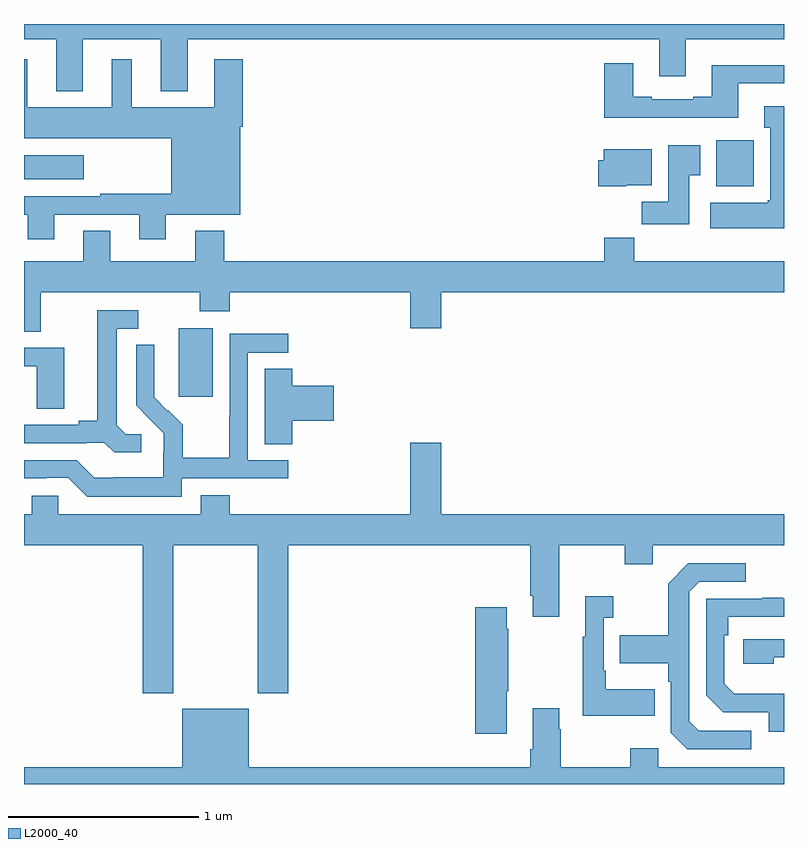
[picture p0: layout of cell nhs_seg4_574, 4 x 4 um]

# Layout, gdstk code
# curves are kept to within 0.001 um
import gdstk
lib = gdstk.Library(unit=1e-6, precision=1e-09)
def R(c, l, rs):  # rectangles x0, y0, x1, y1
    for r in rs: c.add(gdstk.rectangle(r[:2], r[2:], *l))
def P(c, l, *ps):  # polygons
    for p in ps: c.add(gdstk.Polygon(p, *l))
L2000_40 = (2000, 40)

nhs_seg4_574 = lib.new_cell('nhs_seg4_574')
R(nhs_seg4_574, L2000_40, [(139.814,794.937,139.993,795.298), (142.643,796.046,142.84,796.288), (139,796.082,139.315,796.21)])
P(nhs_seg4_574, L2000_40, [(143,796.9),(139,796.9),(139,796.82),(139.169,796.82),(139.169,796.547),(139.309,796.547),(139.309,796.82),(139.721,796.82),(139.721,796.547),(139.861,796.547),(139.861,796.82),(142.343,796.82),(142.343,796.626),(142.483,796.626),(142.483,796.82),(143,796.82)],
  [(139.159,795.897),(139.607,795.897),(139.607,795.768),(139.747,795.768),(139.747,795.896),(140.137,795.896),(140.137,796.358),(140.15,796.358),(140.15,796.714),(140,796.714),(140,796.462),(139.567,796.462),(139.567,796.714),(139.463,796.714),(139.463,796.462),(139.018,796.462),(139.018,796.714),(139,796.714),(139,796.298),(139.775,796.298),(139.775,796.006),(139.402,796.006),(139.402,795.993),(139,795.993),(139,795.897),(139.019,795.897),(139.019,795.768),(139.159,795.768)],
  [(142.759,796.587),(143,796.587),(143,796.684),(142.619,796.684),(142.619,796.516),(142.523,796.516),(142.523,796.503),(142.303,796.503),(142.303,796.516),(142.207,796.516),(142.207,796.693),(142.055,796.693),(142.055,796.406),(142.759,796.406)],
  [(143,796.468),(142.895,796.468),(142.895,796.355),(142.928,796.355),(142.928,795.972),(142.915,795.972),(142.915,795.958),(142.611,795.958),(142.611,795.824),(143,795.824)],
  [(142.501,796.105),(142.558,796.105),(142.558,796.261),(142.391,796.261),(142.391,795.964),(142.252,795.964),(142.252,795.846),(142.501,795.846)],
  [(142.17,796.052),(142.303,796.052),(142.303,796.24),(142.052,796.24),(142.052,796.182),(142.022,796.182),(142.022,796.046),(142.17,796.046)],
  [(140.084,795.488),(141.032,795.488),(141.032,795.3),(141.196,795.3),(141.196,795.488),(143,795.488),(143,795.652),(142.211,795.652),(142.211,795.776),(142.055,795.776),(142.055,795.652),(140.054,795.652),(140.054,795.811),(139.901,795.811),(139.901,795.652),(139.453,795.652),(139.453,795.812),(139.313,795.812),(139.313,795.652),(139,795.652),(139,795.28),(139.087,795.28),(139.087,795.488),(139.924,795.488),(139.924,795.389),(140.084,795.389)],
  [(139.618,794.742),(139.536,794.742),(139.489,794.789),(139.489,795.297),(139.6,795.297),(139.6,795.393),(139.385,795.393),(139.385,794.813),(139.289,794.813),(139.289,794.79),(139,794.79),(139,794.694),(139.328,794.694),(139.328,794.697),(139.422,794.697),(139.474,794.645),(139.618,794.645)],
  [(139.83,794.508),(140.392,794.508),(140.392,794.604),(140.178,794.604),(140.178,795.171),(140.392,795.171),(140.392,795.27),(140.082,795.27),(140.082,794.84),(140.08,794.84),(140.08,794.617),(139.835,794.617),(139.835,794.791),(139.758,794.868),(139.755,794.865),(139.685,794.936),(139.686,795.212),(139.59,795.212),(139.59,794.894),(139.736,794.746),(139.736,794.649),(139.734,794.649),(139.734,794.515),(139.471,794.515),(139.471,794.511),(139.371,794.511),(139.278,794.604),(139,794.604),(139,794.508),(139.118,794.508),(139.118,794.511),(139.233,794.511),(139.333,794.411),(139.83,794.411)],
  [(139.213,795.195),(139,795.195),(139,795.099),(139.068,795.099),(139.068,794.875),(139.213,794.875)],
  [(140.411,794.813),(140.629,794.813),(140.629,794.996),(140.411,794.996),(140.411,795.086),(140.267,795.086),(140.267,794.689),(140.411,794.689)],
  [(141.196,794.695),(141.032,794.695),(141.032,794.32),(140.084,794.32),(140.084,794.419),(139.931,794.419),(139.931,794.32),(139.179,794.32),(139.179,794.418),(139.041,794.418),(139.041,794.32),(139,794.32),(139,794.156),(139.625,794.156),(139.625,793.377),(139.785,793.377),(139.785,794.156),(140.23,794.156),(140.23,793.377),(140.39,793.377),(140.39,794.156),(141.665,794.156),(141.665,793.891),(141.677,793.891),(141.677,793.779),(141.817,793.779),(141.817,794.156),(142.162,794.156),(142.162,794.057),(142.309,794.057),(142.309,794.156),(143,794.156),(143,794.32),(141.196,794.32)],
  [(142.828,793.179),(142.551,793.179),(142.5,793.23),(142.5,793.911),(142.554,793.965),(142.798,793.965),(142.798,794.061),(142.497,794.061),(142.392,793.955),(142.392,793.683),(142.135,793.683),(142.135,793.535),(142.392,793.535),(142.392,793.439),(142.404,793.439),(142.404,793.17),(142.491,793.083),(142.828,793.083)],
  [(142.319,793.399),(142.063,793.399),(142.063,793.495),(142.05,793.495),(142.05,793.775),(142.102,793.775),(142.102,793.888),(141.953,793.888),(141.953,793.675),(141.942,793.675),(141.942,793.259),(142.319,793.259)],
  [(143,793.375),(142.739,793.375),(142.686,793.428),(142.686,793.682),(142.706,793.682),(142.706,793.779),(143,793.779),(143,793.875),(142.997,793.875),(142.997,793.88),(142.885,793.88),(142.885,793.875),(142.59,793.875),(142.59,793.368),(142.68,793.278),(142.92,793.278),(142.92,793.176),(143,793.176)],
  [(141.541,793.387),(141.549,793.387),(141.549,793.718),(141.541,793.718),(141.541,793.831),(141.374,793.831),(141.374,793.164),(141.541,793.164)],
  [(142.946,793.566),(143,793.566),(143,793.662),(142.785,793.662),(142.785,793.532),(142.946,793.532)],
  [(143,792.988),(142.338,792.988),(142.338,793.087),(142.192,793.087),(142.192,792.988),(141.825,792.988),(141.825,793.187),(141.817,793.187),(141.817,793.3),(141.677,793.3),(141.677,793.084),(141.665,793.084),(141.665,792.988),(140.182,792.988),(140.182,793.297),(139.832,793.297),(139.832,792.988),(139,792.988),(139,792.9),(143,792.9)])

lib.write_gds('nhs_seg4_574.gds')
